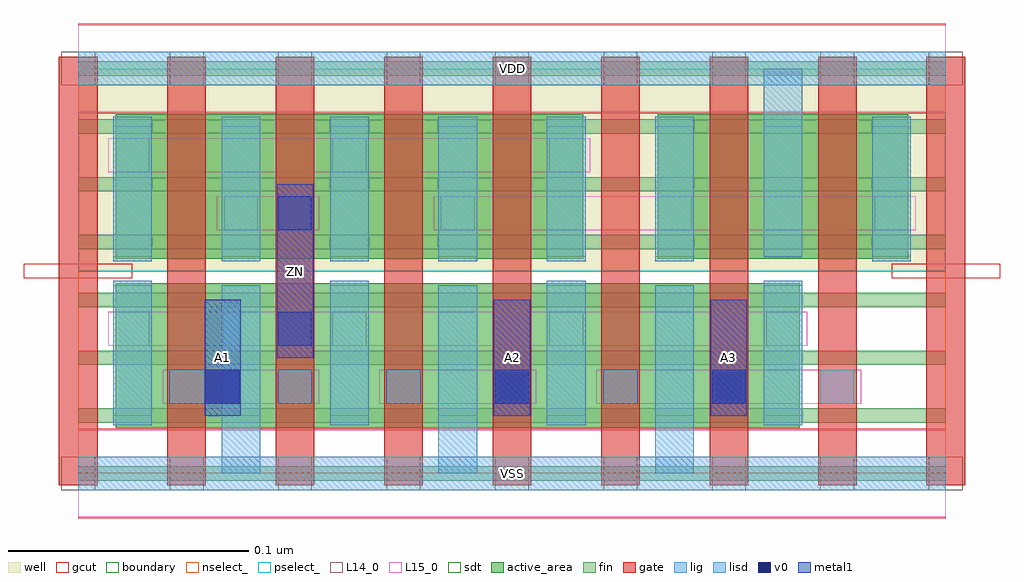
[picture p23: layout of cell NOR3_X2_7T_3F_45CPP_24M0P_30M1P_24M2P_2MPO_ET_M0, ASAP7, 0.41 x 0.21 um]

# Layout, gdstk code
import gdstk
lib = gdstk.Library(unit=1e-6, precision=2.5e-10)
def R(c, l, rs):  # rectangles x0, y0, x1, y1
    for r in rs: c.add(gdstk.rectangle(r[:2], r[2:], *l))
def A(c, l, x, y, w, h, nx, ny, dx, dy):  # array of equal rectangles
    R(c, l, [(x+i*dx, y+j*dy, x+i*dx+w, y+j*dy+h) for i in range(nx) for j in range(ny)])
well = (1, 0)
fin = (2, 0)
gate = (7, 0)
gcut = (10, 0)
active_area = (11, 0)
nselect_ = (12, 0)
pselect_ = (13, 0)
L14_0 = (14, 0)
L15_0 = (15, 0)
lig = (16, 0)
lisd = (17, 0)
v0 = (18, 0)
metal1 = (19, 0)
sdt = (88, 0)
boundary = (100, 0)

nor3_x2_7t_3f_45cpp_24m0 = lib.new_cell('NOR3_X2_7T_3F_45CPP_24M0P_30M1P_24M2P_2MPO_ET_M0')
R(nor3_x2_7t_3f_45cpp_24m0, well, [(0,0.084,0.36,0.168)])
A(nor3_x2_7t_3f_45cpp_24m0, fin, 0, -0.003, 0.36, 0.006, 1, 8, 0, 0.024)
A(nor3_x2_7t_3f_45cpp_24m0, gate, -0.008, -0.005, 0.016, 0.178, 9, 1, 0.045, 0)
R(nor3_x2_7t_3f_45cpp_24m0, gcut, [(0,-0.0185,0.36,0.0185), (-0.0225,0.081,0.0225,0.087), (0.3375,0.081,0.3825,0.087), (0,0.1495,0.36,0.1865)])
A(nor3_x2_7t_3f_45cpp_24m0, active_area, 0.0155, 0.019, 0.104, 0.06, 3, 1, 0.09, 0)
R(nor3_x2_7t_3f_45cpp_24m0, active_area, [(0.0155,0.089,0.1195,0.149), (0.1055,0.089,0.2095,0.149), (0.2405,0.089,0.3445,0.149)])
R(nor3_x2_7t_3f_45cpp_24m0, nselect_, [(0,0,0.36,0.084)])
R(nor3_x2_7t_3f_45cpp_24m0, pselect_, [(0,0.084,0.36,0.168)])
A(nor3_x2_7t_3f_45cpp_24m0, L14_0, -0.007, -0.007, 0.014, 0.014, 9, 2, 0.045, 0.168)
A(nor3_x2_7t_3f_45cpp_24m0, L14_0, 0.038, 0.029, 0.014, 0.014, 7, 1, 0.045, 0)
A(nor3_x2_7t_3f_45cpp_24m0, L14_0, 0.0155, 0.053, 0.014, 0.014, 4, 1, 0.09, 0)
A(nor3_x2_7t_3f_45cpp_24m0, L14_0, 0.0605, 0.101, 0.014, 0.014, 4, 1, 0.09, 0)
A(nor3_x2_7t_3f_45cpp_24m0, L14_0, 0.0155, 0.125, 0.014, 0.014, 3, 1, 0.09, 0)
R(nor3_x2_7t_3f_45cpp_24m0, L15_0, [(0,-0.018,0.36,0.018), (0.035,0.029,0.1,0.043), (0.125,0.029,0.19,0.043), (0.215,0.029,0.325,0.043), (0.0125,0.053,0.3025,0.067), (0.0575,0.101,0.1,0.115), (0.1475,0.101,0.3475,0.115), (0.0125,0.125,0.2125,0.139), (0,0.15,0.36,0.186)])
A(nor3_x2_7t_3f_45cpp_24m0, lig, 0.038, 0.029, 0.014, 0.014, 7, 1, 0.045, 0)
R(nor3_x2_7t_3f_45cpp_24m0, lig, [(0,-0.007,0.36,0.007), (0,0.161,0.36,0.175)])
A(nor3_x2_7t_3f_45cpp_24m0, lisd, 0.0595, 0, 0.016, 0.078, 3, 1, 0.09, 0)
A(nor3_x2_7t_3f_45cpp_24m0, lisd, 0.0145, 0.02, 0.016, 0.06, 4, 1, 0.09, 0)
A(nor3_x2_7t_3f_45cpp_24m0, lisd, 0.0145, 0.088, 0.016, 0.06, 6, 1, 0.045, 0)
R(nor3_x2_7t_3f_45cpp_24m0, lisd, [(0.3295,0.088,0.3455,0.148), (0.2845,0.09,0.3005,0.168)])
R(nor3_x2_7t_3f_45cpp_24m0, v0, [(0.053,0.029,0.067,0.043), (0.173,0.029,0.187,0.043), (0.263,0.029,0.277,0.043), (0.083,0.053,0.097,0.067), (0.083,0.101,0.097,0.115)])
R(nor3_x2_7t_3f_45cpp_24m0, metal1, [(0.0525,0.024,0.0675,0.072), (0.1725,0.024,0.1875,0.072), (0.2625,0.024,0.2775,0.072), (0.0825,0.048,0.0975,0.12)])
A(nor3_x2_7t_3f_45cpp_24m0, sdt, 0.0145, 0.024, 0.016, 0.054, 7, 1, 0.045, 0)
A(nor3_x2_7t_3f_45cpp_24m0, sdt, 0.0145, 0.09, 0.016, 0.054, 8, 1, 0.045, 0)
R(nor3_x2_7t_3f_45cpp_24m0, boundary, [(0,0,0.36,0.168)])
nor3_x2_7t_3f_45cpp_24m0.add(gdstk.Label('A3', (0.27,0.048), layer=19, texttype=251))
nor3_x2_7t_3f_45cpp_24m0.add(gdstk.Label('A2', (0.18,0.048), layer=19, texttype=251))
nor3_x2_7t_3f_45cpp_24m0.add(gdstk.Label('A1', (0.06,0.048), layer=19, texttype=251))
nor3_x2_7t_3f_45cpp_24m0.add(gdstk.Label('ZN', (0.09,0.084), layer=19, texttype=251))
nor3_x2_7t_3f_45cpp_24m0.add(gdstk.Label('VDD', (0.18,0.168), layer=15, texttype=251))
nor3_x2_7t_3f_45cpp_24m0.add(gdstk.Label('VSS', (0.18,0), layer=15, texttype=251))
nor3_x2_7t_3f_45cpp_24m0.add(gdstk.Label('VDD', (0.18,0.168), layer=1, texttype=251))
nor3_x2_7t_3f_45cpp_24m0.add(gdstk.Label('VSS', (0.18,0), layer=3, texttype=251))

lib.write_gds('NOR3_X2_7T_3F_45CPP_24M0P_30M1P_24M2P_2MPO_ET_M0.gds')
